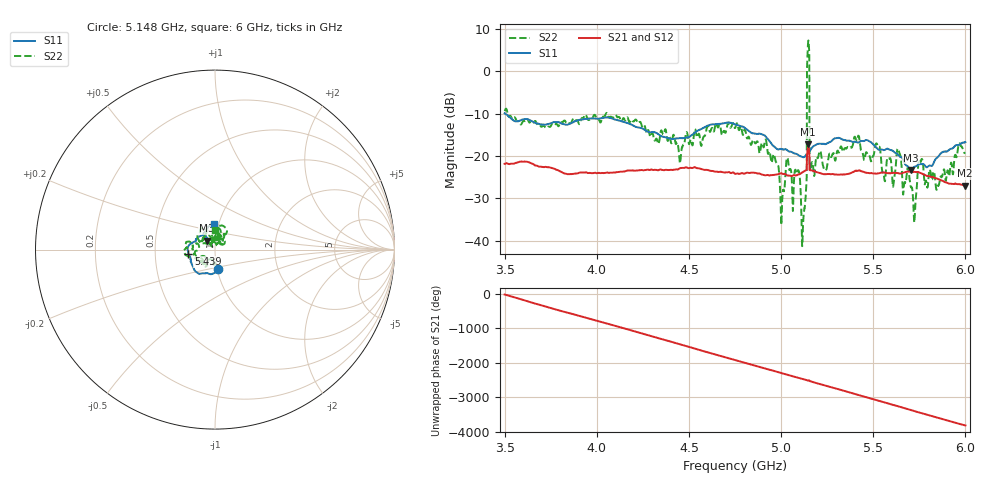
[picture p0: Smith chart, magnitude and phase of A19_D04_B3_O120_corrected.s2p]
! Created with skrf 1.9.0 (http://scikit-rf.org).
# Hz S RI R 50.0
!freq ReS11 ImS11 ReS21 ImS21 ReS12 ImS12 ReS22 ImS22
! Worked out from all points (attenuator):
!   1601 points, 3.5 GHz to 6 GHz, reference 50 ohm
!   highest |S21| = -17.28 dB at 5.147 GHz (marker M1); lowest = -27.0 dB at 5.997 GHz (marker M2)
!   lowest |S11| = -23.4 dB at 5.705 GHz (marker M3), VSWR 1.15, Z = 45.4 + j4.6 ohm
!   |S11| at or under -10 dB: 3.502 GHz to end of sweep
!   |S22| runs from -41.3 to 7.3 dB; largest |S21 - S12| = 0.0011
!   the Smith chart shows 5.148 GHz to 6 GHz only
!   S11 on the Smith chart (normalised r, x): 5.148 GHz: 1.00, -0.22; 5.439 GHz: 0.74, -0.04; 6 GHz: 0.94, +0.28
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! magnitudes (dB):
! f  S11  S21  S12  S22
! 3.5 GHz  -9.9  -21.9  -21.9  -9.4
! 3.917 GHz  -11.4  -23.9  -23.9  -11.1
! 4.334 GHz  -14.9  -23.4  -23.3  -17.2
! 4.75 GHz  -12.6  -24.2  -24.1  -13.4
! 4.969 GHz  -18.0  -24.5  -24.4  -21.0
! 5.006 GHz  -18.5  -24.2  -24.1  -30.3
! 5.036 GHz  -18.8  -24.6  -24.6  -20.6
! 5.088 GHz  -19.6  -24.5  -24.5  -24.0
! 5.12 GHz  -20.3  -23.8  -23.7  -35.3
! 5.127 GHz  -20.3  -23.6  -23.6  -32.3
! 5.141 GHz  -19.5  -19.9  -19.9  0.7
! 5.147 GHz  -19.2  -17.3  -17.3  7.0
! 5.148 GHz  -19.2  -17.3  -17.3  7.3
! 5.167 GHz  -18.1  -23.5  -23.4  -21.5
! 5.439 GHz  -16.5  -23.7  -23.7  -19.1
! 5.584 GHz  -18.5  -24.1  -24.0  -20.6
! 5.705 GHz  -23.4  -23.8  -23.7  -27.4
! 5.723 GHz  -22.6  -23.8  -23.7  -35.8
! 5.756 GHz  -22.0  -24.1  -24.0  -21.4
! 5.848 GHz  -20.4  -25.4  -25.3  -27.2
! 5.997 GHz  -16.8  -27.0  -26.9  -19.3
! 6 GHz  -16.7  -27.0  -26.9  -19.4
